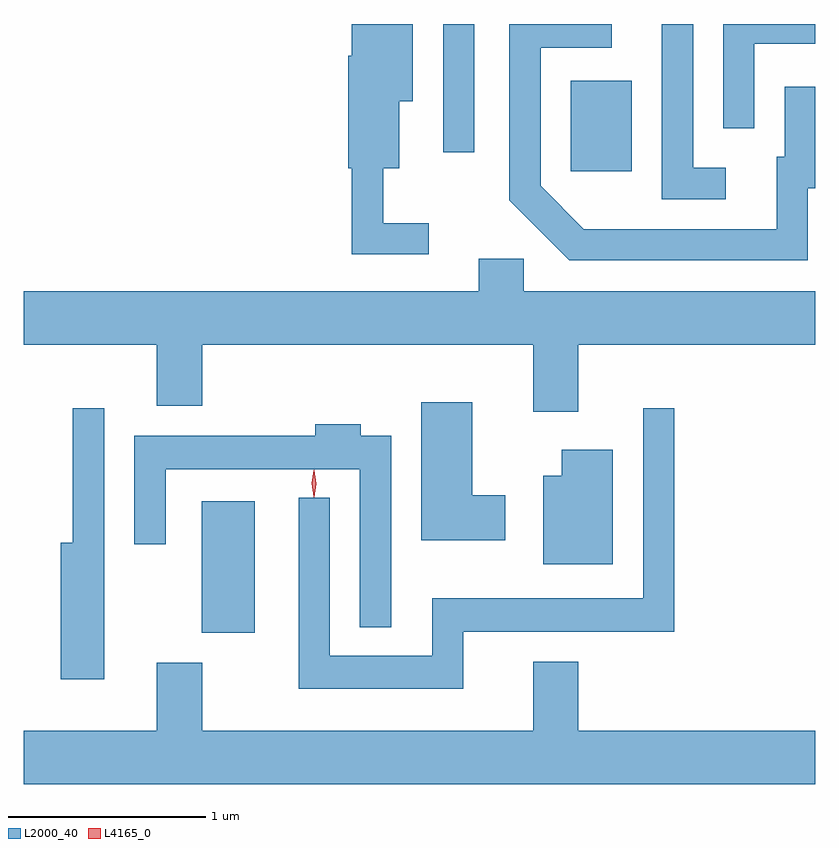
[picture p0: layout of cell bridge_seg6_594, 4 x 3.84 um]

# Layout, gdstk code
import gdstk
lib = gdstk.Library(unit=1e-6, precision=1e-09)
def R(c, l, rs):  # rectangles x0, y0, x1, y1
    for r in rs: c.add(gdstk.rectangle(r[:2], r[2:], *l))
def P(c, l, *ps):  # polygons
    for p in ps: c.add(gdstk.Polygon(p, *l))
L2000_40 = (2000, 40)
L4165_0 = (4165, 0)

bridge_seg6_594 = lib.new_cell('bridge_seg6_594')
R(bridge_seg6_594, L2000_40, [(508.676,1630.721,508.944,1631.384), (510.541,1633.051,510.849,1633.509), (509.896,1633.148,510.054,1633.795)])
P(bridge_seg6_594, L2000_40, [(511.323,1633.069),(511.159,1633.069),(511.159,1633.795),(511.001,1633.795),(511.001,1632.911),(511.323,1632.911)],
  [(511.469,1633.696),(511.777,1633.696),(511.777,1633.795),(511.311,1633.795),(511.311,1633.268),(511.469,1633.268)],
  [(511.739,1632.966),(511.777,1632.966),(511.777,1633.479),(511.621,1633.479),(511.621,1633.124),(511.581,1633.124),(511.581,1632.759),(510.607,1632.759),(510.389,1632.977),(510.389,1633.676),(510.748,1633.676),(510.748,1633.795),(510.231,1633.795),(510.231,1632.904),(510.534,1632.601),(511.739,1632.601)],
  [(509.823,1632.789),(509.594,1632.789),(509.594,1633.066),(509.674,1633.066),(509.674,1633.406),(509.744,1633.406),(509.744,1633.795),(509.436,1633.795),(509.436,1633.634),(509.416,1633.634),(509.416,1633.066),(509.436,1633.066),(509.436,1632.631),(509.823,1632.631)],
  [(510.579,1632.176),(511.777,1632.176),(511.777,1632.444),(510.304,1632.444),(510.304,1632.609),(510.076,1632.609),(510.076,1632.444),(507.777,1632.444),(507.777,1632.176),(508.451,1632.176),(508.451,1631.866),(508.679,1631.866),(508.679,1632.176),(510.351,1632.176),(510.351,1631.836),(510.579,1631.836)],
  [(510.209,1631.414),(510.044,1631.414),(510.044,1631.884),(509.786,1631.884),(509.786,1631.186),(510.209,1631.186)],
  [(509.999,1630.726),(511.064,1630.726),(511.064,1631.853),(510.906,1631.853),(510.906,1630.894),(509.841,1630.894),(509.841,1630.604),(509.324,1630.604),(509.324,1631.403),(509.166,1631.403),(509.166,1630.436),(509.999,1630.436)],
  [(508.184,1631.853),(508.026,1631.853),(508.026,1631.174),(507.966,1631.174),(507.966,1630.486),(508.184,1630.486)],
  [(509.634,1631.714),(509.479,1631.714),(509.479,1631.774),(509.251,1631.774),(509.251,1631.714),(508.336,1631.714),(508.336,1631.168),(508.494,1631.168),(508.494,1631.546),(509.476,1631.546),(509.476,1630.748),(509.634,1630.748)],
  [(510.754,1631.644),(510.496,1631.644),(510.496,1631.514),(510.401,1631.514),(510.401,1631.066),(510.754,1631.066)],
  [(511.777,1630.224),(510.579,1630.224),(510.579,1630.574),(510.351,1630.574),(510.351,1630.224),(508.679,1630.224),(508.679,1630.569),(508.451,1630.569),(508.451,1630.224),(507.777,1630.224),(507.777,1629.956),(511.777,1629.956)])
P(bridge_seg6_594, L4165_0, [(509.242,1631.407),(509.242,1631.407),(509.232,1631.474),(509.242,1631.54),(509.242,1631.54),(509.243,1631.54),(509.252,1631.474),(509.243,1631.407)],
  [(509.244,1631.404),(509.235,1631.473),(509.244,1631.542),(509.245,1631.543),(509.245,1631.542),(509.255,1631.473),(509.245,1631.404),(509.245,1631.404)])

lib.write_gds('bridge_seg6_594.gds')
